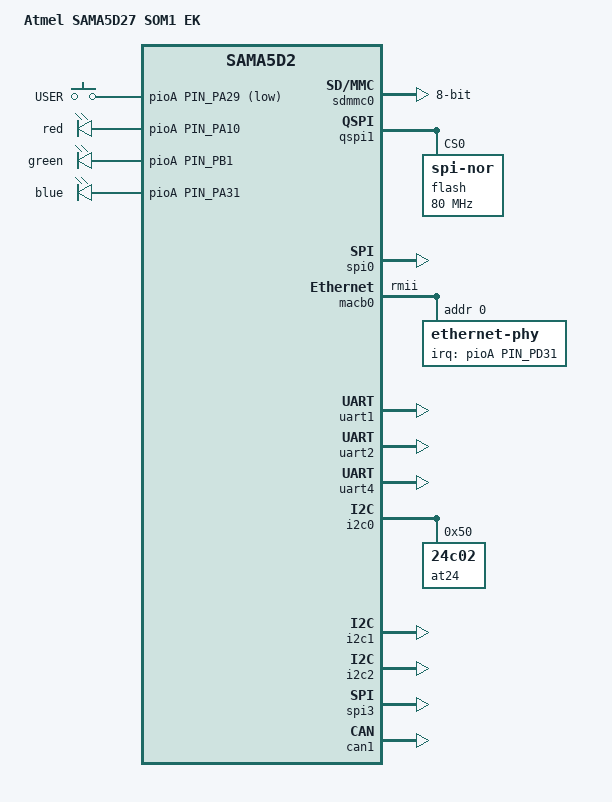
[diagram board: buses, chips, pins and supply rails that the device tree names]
/*
microElk
 */
 
/dts-v1/;
#include "sama5d2.dtsi"

#include "sama5d2-pinfunc.h"
#include <dt-bindings/mfd/atmel-flexcom.h>
#include <dt-bindings/gpio/gpio.h>
#include <dt-bindings/pinctrl/at91.h>

/ {
    model = "Atmel SAMA5D27 SOM1 EK";
    compatible =    "atmel,sama5d27-som1-ek", 
                    "atmel,sama5d27-som1", 
                    "atmel,sama5d27", 
                    "atmel,sama5d2", 
                    "atmel,sama5"; /* compatible */
    aliases {
        eth0    = &macb0;
        spi0    = &qspi1;
        serial0 = &uart1;   /* DBGU */
        serial1 = &uart4;   /* mikro BUS 1 */
        serial2 = &uart2;   /* mikro BUS 2 */
        i2c1    = &i2c1;
        i2c2    = &i2c2;
    }; /* aliases */

    chosen {
        stdout-path = "serial0:115200n8";
    }; /* chosen */

    clocks {
        slow_xtal {
            clock-frequency = <32768>;
        }; /* slow_xtal */

        main_xtal {
            clock-frequency = <24000000>;
        }; /* main_xtal */
    }; /* clocks */



    ahb {
    
//        usb0: gadget@00300000 {
//            status = "okay";
//            atmel,vbus-gpio = <&pioA PIN_PD20 GPIO_ACTIVE_HIGH>;
//            pinctrl-names = "default";
//            pinctrl-0 = <&pinctrl_usba_vbus>;
//        }; /* usb0 */
//        usb1: ohci@00400000 {
//            status = "okay";
//            num-ports = <3>;
//            atmel,vbus-gpio = <0 /* &pioA PIN_PD20 GPIO_ACTIVE_HIGH */
//                       &pioA PIN_PA27 GPIO_ACTIVE_HIGH
//                       0
//                      >;
//            pinctrl-names = "default";
//            pinctrl-0 = <&pinctrl_usb_default>;
//        }; /* usb1 */
//        usb2: ehci@00500000 {
//            status = "okay";
//        }; /* usb2 */


        sdmmc0: sdio-host@a0000000 {
            status = "okay";
            bus-width = <8>;
            pinctrl-names = "default";
            pinctrl-0 = <&pinctrl_sdmmc0_default>;
        }; /* sdmmc0 */
//        sdmmc1: sdio-host@b0000000 {
//            bus-width = <4>;
//            pinctrl-names = "default";
//            pinctrl-0 = <&pinctrl_sdmmc1_default>;
//            status = "okay";
//        }; /* sdmmc1 */



        apb {        
            /************/
            /*** MISC ***/
            /************/
            pmc: pmc@f0014000 {
                pmc_fast_restart {
                    compatible = "atmel,sama5d2-pmc-fast-startup";
                    #address-cells = <1>;
                    #size-cells = <0>;

                    atmel,wakeup-rtc-timer;

                    wkpin: input@0 {
                        reg = <0>;
                    };

                    gmac_wol: input@10 {
                        reg = <10>;
                        atmel,wakeup-active-high;
                    };
                };
            }; /* pmc */ 

            shdwc@f8048010 {
                atmel,shdwc-debouncer = <976>;
                atmel,wakeup-rtc-timer;
                input@0 {
                    reg = <0>;
                    atmel,wakeup-type = "low";
                };
            }; /* shdwc@f8048010 */

            watchdog@f8048040 {
                status = "okay";
            }; /* watchdog@f8048040 */





            /****************/
            /*** SPI QSPI ***/
            /****************/
            qspi1: spi@f0024000 {
                status = "okay";
                pinctrl-names = "default";
                pinctrl-0 = <&pinctrl_qspi1_default>;

                flash@0 {
                    #address-cells = <1>;
                    #size-cells = <1>;
                    compatible = "jedec,spi-nor";
                    reg = <0>;
                    spi-max-frequency = <80000000>;
                    m25p,fast-read;

                    at91bootstrap@00000000 {
                        label = "at91bootstrap";
                        reg = <0x00000000 0x00010000>;
                    };

                    bootloader@00010000 {
                        label = "bootloader";
                        reg = <0x00010000 0x000a0000>;
                    };

                    bootloaderenv@000b0000 {
                        label = "bootloader env";
                        reg = <0x000b0000 0x00010000>;
                    };

                    dtb@000c0000 {
                        label = "device tree";
                        reg = <0x000c0000 0x0020000>;
                    };

                    kernel@000e0000 {
                        label = "kernel";
                        reg = <0x000e0000 0x0400000>;
                    };
                }; /* flash@0 */
            }; /* qspi1 */
            
            spi0: spi@f8000000 {
                status = "okay";
                pinctrl-names = "default";
                pinctrl-0 = <&pinctrl_spi0_default>;
            };



            /***********/
            /*** ETH ***/
            /***********/
            macb0: ethernet@f8008000 {
                status = "okay";
                pinctrl-names = "default";
                pinctrl-0 = <&pinctrl_macb0_default>;
                phy-mode = "rmii";

                ethernet-phy@0 {
                    reg = <0x0>;
                    interrupt-parent = <&pioA>;
                    interrupts = <PIN_PD31 IRQ_TYPE_LEVEL_LOW>;
                    pinctrl-names = "default";
                    pinctrl-0 = <&pinctrl_macb0_phy_irq>;
                };
            };



            /*************/
            /*** UARTS ***/
            /*************/
            uart1: serial@f8020000 {
                status = "okay";
                pinctrl-names = "default";
                pinctrl-0 = <&pinctrl_uart1_default>;
                atmel,use-dma-rx;
                atmel,use-dma-tx;
            }; /* uart1 */
            uart2: serial@f8024000 {
                status = "okay";
                pinctrl-names = "default";
                pinctrl-0 = <&pinctrl_mikrobus2_uart>;
                atmel,use-dma-rx;
                atmel,use-dma-tx;
            }; /* uart2 */
            uart3: serial@fc008000 {
                atmel,use-dma-rx;
                atmel,use-dma-tx;
                pinctrl-names = "default";
                pinctrl-0 = <&pinctrl_uart3_default>;
                status = "disabled"; /* Conflict with isc. */
            }; /* uart3 */
            uart4: serial@fc00c000 {
                atmel,use-dma-rx;
                atmel,use-dma-tx;
                pinctrl-names = "default";
                pinctrl-0 = <&pinctrl_mikrobus1_uart>;
                status = "okay";
            }; /* uart4 */
            
            pwm0: pwm@f802c000 {
                pinctrl-names = "default";
                pinctrl-0 = <&pinctrl_mikrobus1_pwm &pinctrl_mikrobus2_pwm>;
                status = "disabled"; /* Conflict with leds. */
            }; /* pwm0 */          
            
            i2c0: i2c@f8028000 {
                dmas = <0>, <0>;
                pinctrl-names = "default";
                pinctrl-0 = <&pinctrl_i2c0_default>;
                status = "okay";

                at24@50 {
                    compatible = "24c02";
                    reg = <0x50>;
                    pagesize = <8>;
                };
            }; /* i2c0 */
            i2c1: i2c@fc028000 {
                dmas = <0>, <0>;
                pinctrl-names = "default";
                pinctrl-0 = <&pinctrl_i2c1_default>;
                status = "okay";
            }; /* i2c1 */



            /***************/
            /*** FLEXCOM ***/
            /***************/
            flx1: flexcom@f8038000 {
                atmel,flexcom-mode = <ATMEL_FLEXCOM_MODE_TWI>;
                status = "okay";
                i2c2: i2c@600 {
                    compatible = "atmel,sama5d2-i2c";
                    reg = <0x600 0x200>;
                    interrupts = <20 IRQ_TYPE_LEVEL_HIGH 7>;
                    dmas = <0>, <0>;
                    dma-names = "tx", "rx";
                    #address-cells = <1>;
                    #size-cells = <0>;
                    clocks = <&flx1_clk>;
                    pinctrl-names = "default";
                    pinctrl-0 = <&pinctrl_mikrobus_i2c>;
                    atmel,fifo-size = <16>;
                    status = "okay";
                };
            }; /* flx1 */
            flx3: flexcom@fc014000 {
                atmel,flexcom-mode = <ATMEL_FLEXCOM_MODE_SPI>;
                status = "disabled";
                uart7: serial@200 {
                    compatible = "atmel,at91sam9260-usart";
                    reg = <0x200 0x200>;
                    interrupts = <22 IRQ_TYPE_LEVEL_HIGH 7>;
                    clocks = <&flx3_clk>;
                    clock-names = "usart";
                    pinctrl-names = "default";
                    pinctrl-0 = <&pinctrl_flx3_default>;
                    atmel,fifo-size = <32>;
                    status = "disabled"; /* Conflict with isc. */
                };
                spi2: spi@400 {
                    compatible = "atmel,at91rm9200-spi";
                    reg = <0x400 0x200>;
                    interrupts = <22 IRQ_TYPE_LEVEL_HIGH 7>;
                    clocks = <&flx3_clk>;
                    clock-names = "spi_clk";
                    pinctrl-names = "default";
                    pinctrl-0 = <&pinctrl_flx3_default>;
                    atmel,fifo-size = <16>;
                    status = "disabled"; /* Conflict with isc. */
                };
            }; /* flx3 */
            flx4: flexcom@fc018000 {
                atmel,flexcom-mode = <ATMEL_FLEXCOM_MODE_SPI>;
                status = "okay";
                uart6: serial@200 {
                    compatible = "atmel,at91sam9260-usart";
                    reg = <0x200 0x200>;
                    interrupts = <23 IRQ_TYPE_LEVEL_HIGH 7>;
                    clocks = <&flx4_clk>;
                    clock-names = "usart";
                    pinctrl-names = "default";
                    pinctrl-0 = <&pinctrl_flx4_default>;
                    atmel,fifo-size = <32>;
                    status = "disabled"; /* Conflict with spi3 and i2c3. */
                };
                spi3: spi@400 {
                    compatible = "atmel,at91rm9200-spi";
                    reg = <0x400 0x200>;
                    interrupts = <23 IRQ_TYPE_LEVEL_HIGH 7>;
                    clocks = <&flx4_clk>;
                    clock-names = "spi_clk";
                    pinctrl-names = "default";
                    pinctrl-0 = <   &pinctrl_mikrobus_spi 
                                    &pinctrl_mikrobus1_spi_cs 
                                    &pinctrl_mikrobus2_spi_cs>;
                    atmel,fifo-size = <16>;
                    status = "okay";
                }; 
                i2c3: i2c@600 {
                    compatible = "atmel,sama5d2-i2c";
                    reg = <0x600 0x200>;
                    interrupts = <23 IRQ_TYPE_LEVEL_HIGH 7>;
                    dmas = <0>, <0>;
                    dma-names = "tx", "rx";
                    #address-cells = <1>;
                    #size-cells = <0>;
                    clocks = <&flx4_clk>;
                    pinctrl-names = "default";
                    pinctrl-0 = <&pinctrl_flx4_default>;
                    atmel,fifo-size = <16>;
                    status = "disabled"; /* Conflict with uart6 and spi3. */
                }; 
            };/* flx4 */

            can1: can@fc050000 {
                pinctrl-names = "default";
                pinctrl-0 = <&pinctrl_can1_default>;
                status = "okay";
            }; /* can1 */
            
            isc: isc@f0008000 {
                pinctrl-names = "default";
                pinctrl-0 = <   &pinctrl_isc_base 
                                &pinctrl_isc_data_8bit 
                                &pinctrl_isc_data_9_10 
                                &pinctrl_isc_data_11_12>;
                status = "okay";
            }; /* isc */
            


            /**************/
            /*** PINCTL ***/
            /**************/
            pinctrl@fc038000 {

                /*** QSPI ***/
                pinctrl_qspi1_default: qspi1_default {
                    sck_cs {
                        pinmux =    <PIN_PB5__QSPI1_SCK>,
                                    <PIN_PB6__QSPI1_CS>;
                        bias-disable;
                    };
                    data {
                        pinmux =    <PIN_PB7__QSPI1_IO0>,
                                    <PIN_PB8__QSPI1_IO1>,
                                    <PIN_PB9__QSPI1_IO2>,
                                    <PIN_PB10__QSPI1_IO3>;
                        bias-pull-up;
                    };
                }; /* pinctrl_qspi1_default */
                
                pinctrl_spi0_default: spi0_default {
                    pinmux =        <PIN_PA14__SPI0_SPCK>,
                                    <PIN_PA15__SPI0_MOSI>,
                                    <PIN_PA16__SPI0_MISO>,
                                    <PIN_PA17__SPI0_NPCS0>;
                    bias-disable;
                }; /* pinctrl_spi0_default */


                /*** MAC ***/
                pinctrl_macb0_default: macb0_default {
                    pinmux =        <PIN_PD9__GTXCK>,
                                    <PIN_PD10__GTXEN>,
                                    <PIN_PD11__GRXDV>,
                                    <PIN_PD12__GRXER>,
                                    <PIN_PD13__GRX0>,
                                    <PIN_PD14__GRX1>,
                                    <PIN_PD15__GTX0>,
                                    <PIN_PD16__GTX1>,
                                    <PIN_PD17__GMDC>,
                                    <PIN_PD18__GMDIO>;
                    bias-disable;
                }; /* pinctrl_macb0_default */
                pinctrl_macb0_phy_irq: macb0_phy_irq {
                    pinmux =        <PIN_PD31__GPIO>;
                    bias-disable;
                }; /* pinctrl_macb0_phy_irq */

                /*** CAN ***/
                pinctrl_can1_default: can1_default {
                    pinmux =        <PIN_PC26__CANTX1>,
                                    <PIN_PC27__CANRX1>;
                    bias-disable;
                };


                /*** FLEX ***/
                pinctrl_flx3_default: flx3_default {
                    pinmux =        <PIN_PC20__FLEXCOM3_IO0>,
                                    <PIN_PC19__FLEXCOM3_IO1>,
                                    <PIN_PC18__FLEXCOM3_IO2>,
                                    <PIN_PC21__FLEXCOM3_IO3>,
                                    <PIN_PC22__FLEXCOM3_IO4>;
                    bias-disable;
                };
                pinctrl_flx4_default: flx4_uart_default {
                    pinmux =        <PIN_PC28__FLEXCOM4_IO0>,
                                    <PIN_PC29__FLEXCOM4_IO1>,
                                    <PIN_PC30__FLEXCOM4_IO2>,
                                    <PIN_PC31__FLEXCOM4_IO3>,
                                    <PIN_PD0__FLEXCOM4_IO4>;
                    bias-disable;
                };
                
                
                /*** I2C ***/
                pinctrl_i2c0_default: i2c0_default {
                    pinmux =        <PIN_PD21__TWD0>,
                                    <PIN_PD22__TWCK0>;
                    bias-disable;
                };
                pinctrl_i2c1_default: i2c1_default {
                    pinmux =        <PIN_PD4__TWD1>,
                                    <PIN_PD5__TWCK1>;
                    bias-disable;
                };
                
                
                /*** ISC ***/
                pinctrl_isc_base: isc_base {
                    pinmux =        <PIN_PC21__ISC_PCK>,
                                    <PIN_PC22__ISC_VSYNC>,
                                    <PIN_PC23__ISC_HSYNC>,
                                    <PIN_PC24__ISC_MCK>;
                    bias-disable;
                };
                pinctrl_isc_data_8bit: isc_data_8bit {
                    pinmux =        <PIN_PC20__ISC_D11>,
                                    <PIN_PC19__ISC_D10>,
                                    <PIN_PC18__ISC_D9>,
                                    <PIN_PC17__ISC_D8>,
                                    <PIN_PC16__ISC_D7>,
                                    <PIN_PC15__ISC_D6>,
                                    <PIN_PC14__ISC_D5>,
                                    <PIN_PC13__ISC_D4>;
                    bias-disable;
                };
                pinctrl_isc_data_9_10: isc_data_9_10 {
                    pinmux =        <PIN_PC12__ISC_D3>,
                                    <PIN_PC11__ISC_D2>;
                    bias-disable;
                };
                pinctrl_isc_data_11_12: isc_data_11_12 {
                    pinmux =        <PIN_PC10__ISC_D1>,
                                    <PIN_PC9__ISC_D0>;
                    bias-disable;
                };

                /*** GPIO ***/
                pinctrl_key_gpio_default: key_gpio_default {
                    pinmux =        <PIN_PA29__GPIO>;
                    bias-pull-up;
                };
                pinctrl_led_gpio_default: led_gpio_default {
                    pinmux =        <PIN_PA10__GPIO>,
                                    <PIN_PB1__GPIO>,
                                    <PIN_PA31__GPIO>;
                    bias-pull-up;
                };
                
                
                /*** SD ***/
                pinctrl_sdmmc0_default: sdmmc0_default {
                    cmd_data {
                        pinmux =    <PIN_PA1__SDMMC0_CMD>,
                                    <PIN_PA2__SDMMC0_DAT0>,
                                    <PIN_PA3__SDMMC0_DAT1>,
                                    <PIN_PA4__SDMMC0_DAT2>,
                                    <PIN_PA5__SDMMC0_DAT3>,
                                    <PIN_PA6__SDMMC0_DAT4>,
                                    <PIN_PA7__SDMMC0_DAT5>,
                                    <PIN_PA8__SDMMC0_DAT6>,
                                    <PIN_PA9__SDMMC0_DAT7>;
                        bias-disable;
                    };
                    ck_cd_vddsel {
                        pinmux =    <PIN_PA0__SDMMC0_CK>,
                                    <PIN_PA11__SDMMC0_VDDSEL>,
                                    <PIN_PA13__SDMMC0_CD>;
                        bias-disable;
                    };
                }; /* pinctrl_sdmmc0_default */

//                pinctrl_sdmmc1_default: sdmmc1_default {
//                    cmd_data {
//                        pinmux =    <PIN_PA28__SDMMC1_CMD>,
//                                    <PIN_PA18__SDMMC1_DAT0>,
//                                    <PIN_PA19__SDMMC1_DAT1>,
//                                    <PIN_PA20__SDMMC1_DAT2>,
//                                    <PIN_PA21__SDMMC1_DAT3>;
//                        bias-disable;
//                    };
//                    conf-ck_cd {
//                        pinmux =    <PIN_PA22__SDMMC1_CK>,
//                                    <PIN_PA30__SDMMC1_CD>;
//                        bias-disable;
//                    };
//                };



                pinctrl_uart1_default: uart1_default {
                    pinmux =        <PIN_PD2__URXD1>,
                                    <PIN_PD3__UTXD1>;
                    bias-disable;
                };
                pinctrl_uart3_default: uart3_default {
                    pinmux =        <PIN_PC12__URXD3>,
                                    <PIN_PC13__UTXD3>;
                    bias-disable;
                };

//                pinctrl_usb_default: usb_default {
//                    pinmux =        <PIN_PA27__GPIO>,
//                                    <PIN_PD19__GPIO>;
//                    bias-disable;
//                };
//                pinctrl_usba_vbus: usba_vbus {
//                    pinmux =        <PIN_PD20__GPIO>;
//                    bias-disable;
//                };

                /*** microBUS ***/
                pinctrl_mikrobus1_an: mikrobus1_an {
                    pinmux =        <PIN_PD25__GPIO>;
                    bias-disable;
                };
                pinctrl_mikrobus2_an: mikrobus2_an {
                    pinmux =        <PIN_PD26__GPIO>;
                    bias-disable;
                };
                pinctrl_mikrobus1_rst: mikrobus1_rst {
                    pinmux =        <PIN_PB2__GPIO>;
                    bias-disable;
                };
                pinctrl_mikrobus2_rst: mikrobus2_rst {
                    pinmux =        <PIN_PA26__GPIO>;
                    bias-disable;
                };
                pinctrl_mikrobus1_spi_cs: mikrobus1_spi_cs {
                    pinmux =        <PIN_PD0__FLEXCOM4_IO4>;
                    bias-disable;
                };
                pinctrl_mikrobus2_spi_cs: mikrobus2_spi_cs {
                    pinmux =        <PIN_PC31__FLEXCOM4_IO3>;
                    bias-disable;
                };
                pinctrl_mikrobus_spi: mikrobus_spi {
                    pinmux =        <PIN_PC28__FLEXCOM4_IO0>,
                                    <PIN_PC29__FLEXCOM4_IO1>,
                                    <PIN_PC30__FLEXCOM4_IO2>;
                    bias-disable;
                };
                pinctrl_mikrobus1_pwm: mikrobus1_pwm {
                    pinmux =        <PIN_PB1__PWML1>;
                    bias-disable;
                };
                pinctrl_mikrobus2_pwm: mikrobus2_pwm {
                    pinmux =        <PIN_PA31__PWML0>;
                    bias-disable;
                };
                pinctrl_mikrobus1_int: mikrobus1_int {
                    pinmux =        <PIN_PB0__GPIO>;
                    bias-disable;
                };

                pinctrl_mikrobus2_int: mikrobus2_int {
                    pinmux =        <PIN_PA25__GPIO>;
                    bias-disable;
                };
                pinctrl_mikrobus1_uart: mikrobus1_uart {
                    pinmux =        <PIN_PB3__URXD4>,
                                    <PIN_PB4__UTXD4>;
                    bias-disable;
                };
                pinctrl_mikrobus2_uart: mikrobus2_uart {
                    pinmux =        <PIN_PD23__URXD2>,
                                    <PIN_PD24__UTXD2>;
                    bias-disable;
                };
                pinctrl_mikrobus_i2c: mikrobus1_i2c {
                    pinmux =        <PIN_PA24__FLEXCOM1_IO0>,
                                    <PIN_PA23__FLEXCOM1_IO1>;
                    bias-disable;
                };               
            }; /* pinctrl@fc038000 */


        };
    }; /* ahb */

    gpio_keys {
        compatible = "gpio-keys";
        pinctrl-names = "default";
        pinctrl-0 = <&pinctrl_key_gpio_default>;
        pb4 {
            label = "USER";
            gpios = <&pioA PIN_PA29 GPIO_ACTIVE_LOW>;
            linux,code = <0x104>;
            wakeup-source;
        };
    }; /* gpio_keys */

    leds {
        status = "okay"; /* Conflict with pwm0. */
        compatible = "gpio-leds";
        pinctrl-names = "default";
        pinctrl-0 = <&pinctrl_led_gpio_default>;
            red {
                label = "red";
                gpios = <&pioA PIN_PA10 GPIO_ACTIVE_HIGH>;
            };
            green {
                label = "green";
                gpios = <&pioA PIN_PB1 GPIO_ACTIVE_HIGH>;
            };
            blue {
                label = "blue";
                gpios = <&pioA PIN_PA31 GPIO_ACTIVE_HIGH>;
                linux,default-trigger = "heartbeat";
            };
    }; /* leds */
};
